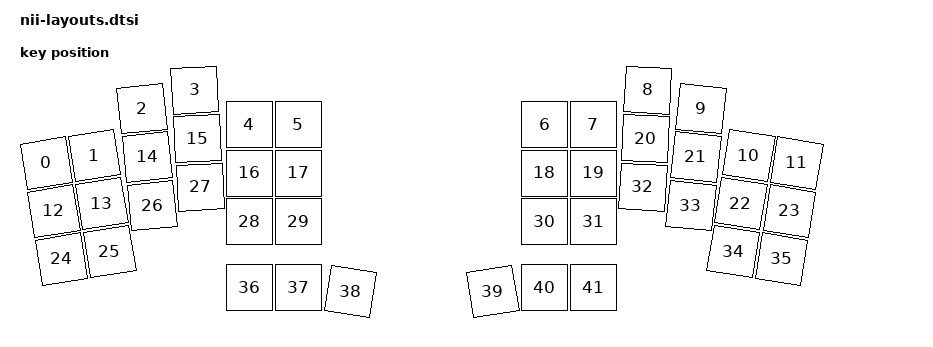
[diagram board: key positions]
#include <physical_layouts.dtsi>

/ {
    physical_layout0: physical_layout_0 {
        compatible = "zmk,physical-layout";
        display-name = "Nii Default Layout";
        kscan = <&kscan0>;
        transform = <&default_transform>;

        keys  //                     w   h    x    y     rot    rx    ry
            = <&key_physical_attrs 100 100    0  146  (-900)    50   196>
            , <&key_physical_attrs 100 100   96  131  (-900)   146   181>
            , <&key_physical_attrs 100 100  191   37  (-600)   241    87>
            , <&key_physical_attrs 100 100  297    0  (-300)   347    50>
            , <&key_physical_attrs 100 100  406   69       0     0     0>
            , <&key_physical_attrs 100 100  504   69       0     0     0>
            , <&key_physical_attrs 100 100  997   69       0     0     0>
            , <&key_physical_attrs 100 100 1094   69       0     0     0>
            , <&key_physical_attrs 100 100 1203    0     300  1253    50>
            , <&key_physical_attrs 100 100 1309   37     600  1359    87>
            , <&key_physical_attrs 100 100 1405  131     900  1455   181>
            , <&key_physical_attrs 100 100 1501  146     900  1551   196>
            , <&key_physical_attrs 100 100   15  242  (-900)    65   292>
            , <&key_physical_attrs 100 100  111  227  (-900)   161   277>
            , <&key_physical_attrs 100 100  202  134  (-600)   252   184>
            , <&key_physical_attrs 100 100  302   97  (-300)   352   147>
            , <&key_physical_attrs 100 100  406  166       0     0     0>
            , <&key_physical_attrs 100 100  504  166       0     0     0>
            , <&key_physical_attrs 100 100  997  166       0     0     0>
            , <&key_physical_attrs 100 100 1094  166       0     0     0>
            , <&key_physical_attrs 100 100 1198   97     300  1248   147>
            , <&key_physical_attrs 100 100 1299  134     600  1349   184>
            , <&key_physical_attrs 100 100 1389  227     900  1439   277>
            , <&key_physical_attrs 100 100 1486  242     900  1536   292>
            , <&key_physical_attrs 100 100   30  338  (-900)    80   388>
            , <&key_physical_attrs 100 100  127  323  (-900)   177   373>
            , <&key_physical_attrs 100 100  212  231  (-600)   262   280>
            , <&key_physical_attrs 100 100  308  194  (-300)   358   245>
            , <&key_physical_attrs 100 100  406  263       0     0     0>
            , <&key_physical_attrs 100 100  504  263       0     0     0>
            , <&key_physical_attrs 100 100  997  263       0     0     0>
            , <&key_physical_attrs 100 100 1094  263       0     0     0>
            , <&key_physical_attrs 100 100 1193  194     300  1243   245>
            , <&key_physical_attrs 100 100 1289  231     600  1339   280>
            , <&key_physical_attrs 100 100 1374  323     900  1424   373>
            , <&key_physical_attrs 100 100 1470  338     900  1520   388>
            , <&key_physical_attrs 100 100  406  395       0     0     0>
            , <&key_physical_attrs 100 100  504  395       0     0     0>
            , <&key_physical_attrs 100 100  608  403     900   658   453>
            , <&key_physical_attrs 100 100  893  403  (-900)   943   453>
            , <&key_physical_attrs 100 100  997  395       0     0     0>
            , <&key_physical_attrs 100 100 1094  395       0     0     0>
            ;
    };

};
